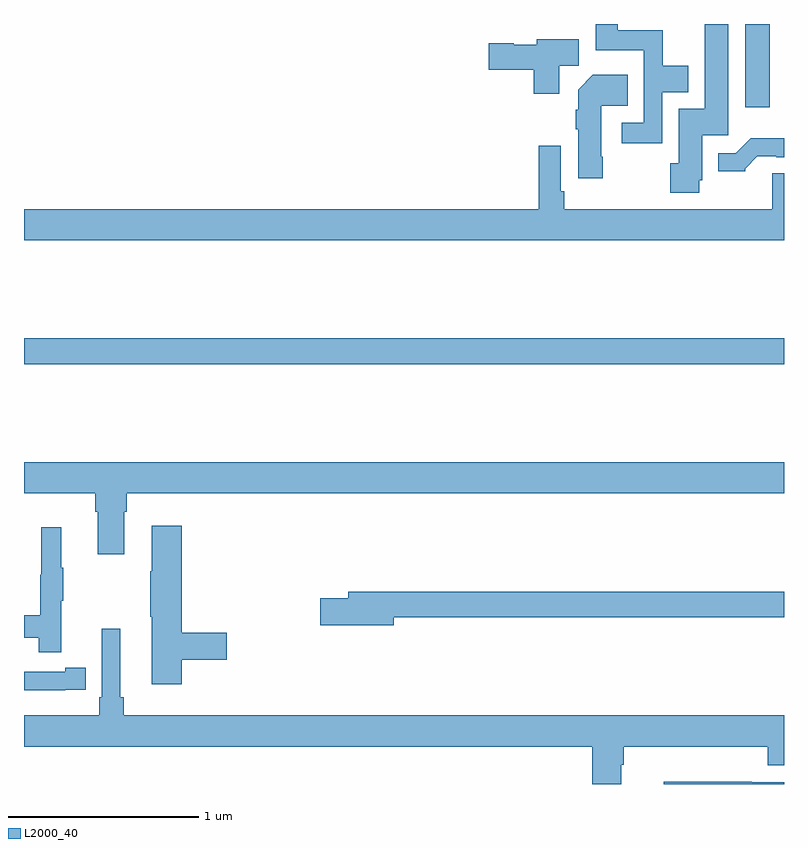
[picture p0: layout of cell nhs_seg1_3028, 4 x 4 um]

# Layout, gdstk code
import gdstk
lib = gdstk.Library(unit=1e-6, precision=1e-09)
def R(c, l, rs):  # rectangles x0, y0, x1, y1
    for r in rs: c.add(gdstk.rectangle(r[:2], r[2:], *l))
def P(c, l, *ps):  # polygons
    for p in ps: c.add(gdstk.Polygon(p, *l))
L2000_40 = (2000, 40)

nhs_seg1_3028 = lib.new_cell('nhs_seg1_3028')
R(nhs_seg1_3028, L2000_40, [(275,556.408,279,556.544), (278.795,557.76,278.926,558.199)])
P(nhs_seg1_3028, L2000_40, [(278.358,557.84),(278.497,557.84),(278.497,557.98),(278.361,557.98),(278.361,558.166),(278.125,558.166),(278.125,558.199),(278.009,558.199),(278.009,558.062),(278.262,558.062),(278.262,557.679),(278.145,557.679),(278.145,557.571),(278.358,557.571)],
  [(278.553,557.376),(278.569,557.376),(278.569,557.613),(278.707,557.613),(278.707,558.199),(278.582,558.199),(278.582,557.752),(278.447,557.752),(278.447,557.466),(278.401,557.466),(278.401,557.31),(278.553,557.31)],
  [(277.816,557.98),(277.921,557.98),(277.921,558.118),(277.698,558.118),(277.698,558.091),(277.578,558.091),(277.578,558.099),(277.446,558.099),(277.446,557.957),(277.682,557.957),(277.682,557.832),(277.816,557.832)],
  [(278.046,557.5),(278.038,557.5),(278.038,557.768),(278.177,557.768),(278.177,557.932),(277.994,557.932),(277.916,557.854),(277.916,557.747),(277.904,557.747),(277.904,557.644),(277.916,557.644),(277.916,557.388),(278.046,557.388)],
  [(278.796,557.438),(278.86,557.502),(278.959,557.502),(278.959,557.499),(279,557.499),(279,557.599),(278.824,557.599),(278.745,557.52),(278.654,557.52),(278.654,557.423),(278.796,557.423)],
  [(279,557.414),(278.939,557.414),(278.939,557.224),(277.844,557.224),(277.844,557.32),(277.824,557.32),(277.824,557.557),(277.708,557.557),(277.708,557.224),(275,557.224),(275,557.06),(279,557.06)],
  [(275.527,555.632),(275.54,555.632),(275.54,555.728),(279,555.728),(279,555.892),(275,555.892),(275,555.728),(275.375,555.728),(275.375,555.632),(275.387,555.632),(275.387,555.408),(275.527,555.408)],
  [(275.831,554.854),(276.067,554.854),(276.067,554.996),(275.831,554.996),(275.831,555.559),(275.672,555.559),(275.672,555.32),(275.665,555.32),(275.665,555.079),(275.672,555.079),(275.672,554.724),(275.831,554.724)],
  [(275.195,555.163),(275.206,555.163),(275.206,555.337),(275.195,555.337),(275.195,555.55),(275.092,555.55),(275.092,555.3),(275.085,555.3),(275.085,555.086),(275,555.086),(275,554.97),(275.077,554.97),(275.077,554.892),(275.195,554.892)],
  [(276.946,555.076),(279,555.076),(279,555.212),(276.707,555.212),(276.707,555.176),(276.558,555.176),(276.558,555.034),(276.946,555.034)],
  [(278.143,554.3),(278.156,554.3),(278.156,554.396),(278.915,554.396),(278.915,554.297),(279,554.297),(279,554.56),(275.525,554.56),(275.525,554.656),(275.506,554.656),(275.506,555.016),(275.409,555.016),(275.409,554.656),(275.396,554.656),(275.396,554.56),(275,554.56),(275,554.396),(277.991,554.396),(277.991,554.199),(278.143,554.199)],
  [(275.216,554.694),(275.324,554.694),(275.324,554.81),(275.216,554.81),(275.216,554.79),(275,554.79),(275,554.693),(275.216,554.693)],
  [(279,554.208),(278.831,554.208),(278.831,554.21),(278.368,554.21),(278.368,554.199),(279,554.199)])

lib.write_gds('nhs_seg1_3028.gds')
